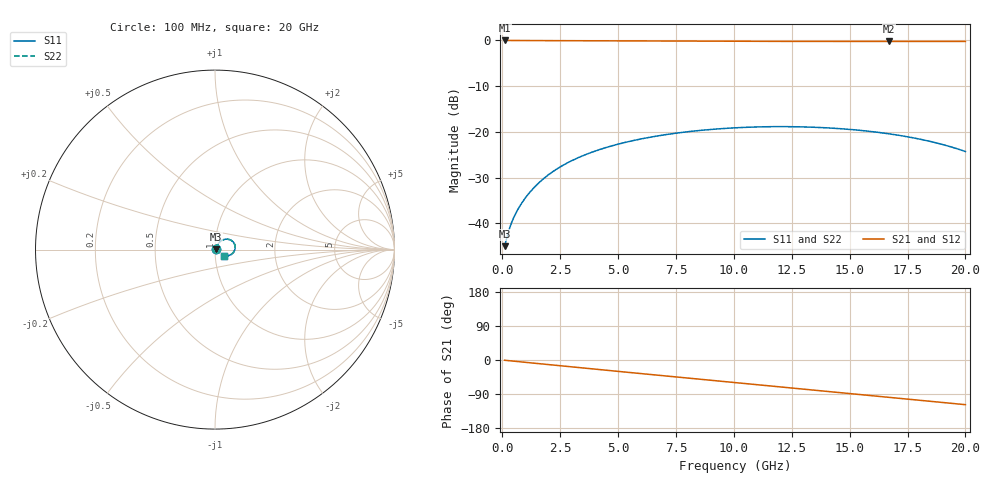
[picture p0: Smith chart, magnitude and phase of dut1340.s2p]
! Touchstone file exported from HFSS 2026.1.0
!  File:  C:/ffzhzh/LocalFiles/Ansys_Project_Files/temp_train_TSV_RDL_1340_1783339074_38704.aedt
!  Generated:  08:08:24 PM Jul  6, 2026
!  Design:  TSV_RDL
!  Project:  temp_train_TSV_RDL_1340_1783339074_38704
! Variables:
!  h_bsmrdl = 5.88um
!  h_ox = 20um
!  h_rdl = 5um
!  h_sub = 88.2um
!  h_tmrdl = 4.05um
!  h_tsv = 88.2um
!  h_via = 3um
!  l_bsmrdl = 247.06um
!  l_sub = 1694.53um
!  l_tmrdl = 105.75um
!  m_sub = 200um
!  pitch = 38.96um
!  r_tsv = 13.02um
!  s_tmrdl = 10um
!  w_bsmrdl = 24.44um
!  w_sub = 500um
!  w_tmrdl = 19.01um
!  x_tsv_center1 = 115.255um
!  x_tsv_center2 = 386.755um
!  x_tsv_center3 = 511.515um
!  x_tsv_center4 = 783.015um
!  x_tsv_center5 = 907.775um
!  x_tsv_center6 = 1179.275um
# GHz S MA R 50.000000
! Terminal data exported
! Port[1] = TM_RDL1_1_T1
! Port[2] = TM_RDL5_1_T1
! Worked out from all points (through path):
!   200 points, 100 MHz to 20 GHz, reference 50 ohm
!   highest |S21| = -0.04 dB at 100 MHz (marker M1); lowest = -0.3 dB at 16.7 GHz (marker M2)
!   group delay of S21, straight-line fit = 16.3 ps
!   lowest |S11| = -45.0 dB at 100 MHz (marker M3), VSWR 1.01, Z = 50.5 + j0.224 ohm
!   |S11| at or under -10 dB: start of sweep to end of sweep
!   |S22| runs from -45.0 to -18.9 dB; largest |S21 - S12| = 7.4e-14
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0.1  0.005621 23.2  0.9949 -0.6  0.9949 -0.6  0.005621 23.2
! Gamma 0 0 0 0
! Port Impedance 50 0 50 0
0.3  0.008614 44.4  0.994 -1.9  0.994 -1.9  0.008614 44.4
0.4  0.01016 48.8  0.9936 -2.5  0.9936 -2.5  0.01016 48.8
0.5  0.01165 52.0  0.9933 -3.1  0.9933 -3.1  0.01165 52.0
0.8  0.01603 57.9  0.9926 -4.9  0.9926 -4.9  0.01603 57.9
1.2  0.02198 61.5  0.9919 -7.3  0.9919 -7.3  0.02198 61.5
1.7  0.02951 62.6  0.991 -10.4  0.991 -10.4  0.02951 62.6
2.2  0.03693 61.8  0.9899 -13.4  0.9899 -13.4  0.03693 61.8
2.8  0.04553 59.8  0.9885 -17.0  0.9885 -17.0  0.04553 59.8
3.5  0.05502 56.7  0.9868 -21.1  0.9868 -21.1  0.05502 56.7
4.2  0.06388 53.3  0.9851 -25.3  0.9851 -25.3  0.06388 53.3
5  0.07319 49.2  0.9832 -30.0  0.9832 -30.0  0.07318 49.2
6.8  0.09087 39.6  0.9793 -40.6  0.9793 -40.6  0.09087 39.6
8.4  0.1026 30.9  0.9764 -50.0  0.9764 -50.0  0.1026 30.9
10.1  0.1106 21.5  0.974 -59.9  0.974 -59.9  0.1106 21.5
11.8  0.1138 12.0  0.9722 -69.8  0.9722 -69.8  0.1138 12.0
13.4  0.1122 2.9  0.9712 -79.1  0.9712 -79.1  0.1122 3.0
15.1  0.1056 -6.8  0.9707 -89.1  0.9707 -89.1  0.1056 -6.8
16.7  0.09499 -16.1  0.9706 -98.4  0.9706 -98.4  0.095 -16.0
18.5  0.07823 -26.8  0.9706 -109.0  0.9706 -109.0  0.07824 -26.7
19.3  0.0693 -31.6  0.9706 -113.7  0.9706 -113.7  0.0693 -31.6
20  0.0608 -36.0  0.9706 -117.9  0.9706 -117.9  0.06081 -36.0
